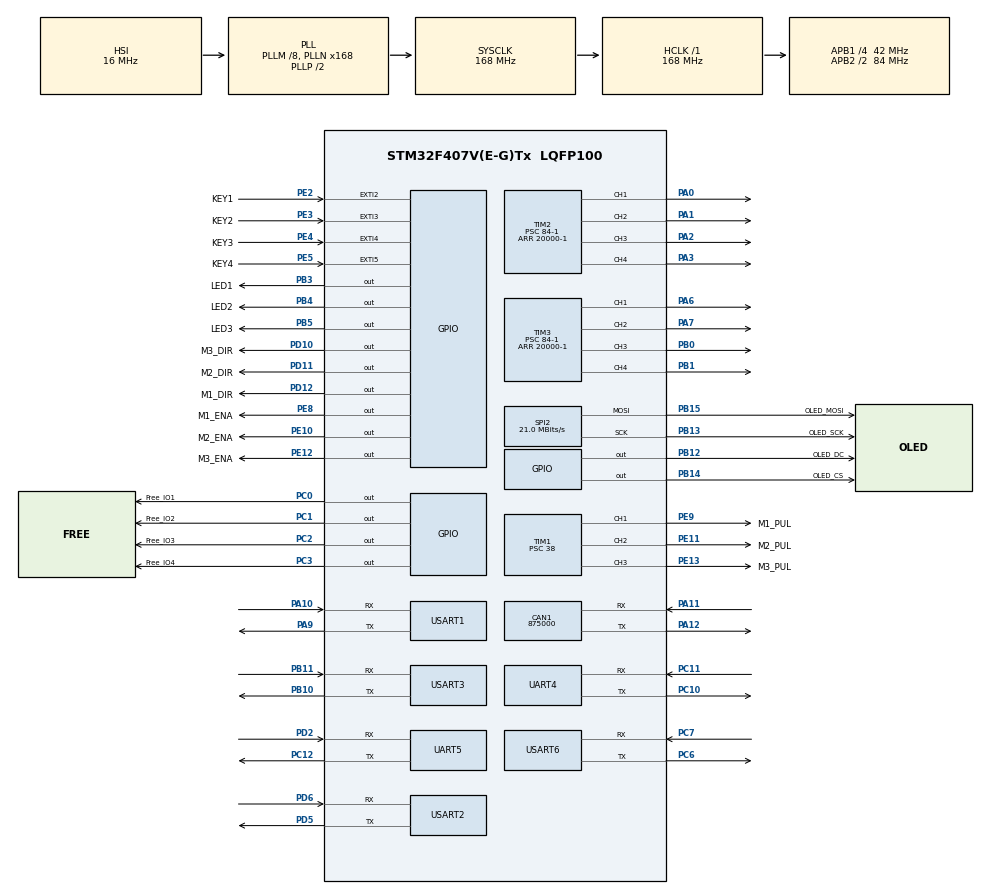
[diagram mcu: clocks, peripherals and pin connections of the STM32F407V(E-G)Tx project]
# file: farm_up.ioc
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CAN1.CalculateBaudRate=875000
CAN1.CalculateTimeBit=1142
CAN1.CalculateTimeQuantum=380.95238095238096
Dma.Request0=UART5_RX
Dma.Request1=UART5_TX
Dma.Request2=USART1_RX
Dma.Request3=USART1_TX
Dma.UART5_RX.0.Direction=DMA_PERIPH_TO_MEMORY
Dma.UART5_RX.0.FIFOMode=DMA_FIFOMODE_DISABLE
Dma.UART5_RX.0.Instance=DMA1_Stream0
Dma.UART5_RX.0.MemDataAlignment=DMA_MDATAALIGN_BYTE
Dma.UART5_RX.0.MemInc=DMA_MINC_ENABLE
Dma.UART5_RX.0.Mode=DMA_NORMAL
Dma.UART5_RX.0.PeriphDataAlignment=DMA_PDATAALIGN_BYTE
Dma.UART5_RX.0.PeriphInc=DMA_PINC_DISABLE
Dma.UART5_RX.0.Priority=DMA_PRIORITY_LOW
Dma.UART5_TX.1.Direction=DMA_MEMORY_TO_PERIPH
Dma.UART5_TX.1.FIFOMode=DMA_FIFOMODE_DISABLE
Dma.UART5_TX.1.Instance=DMA1_Stream7
Dma.UART5_TX.1.MemDataAlignment=DMA_MDATAALIGN_BYTE
Dma.UART5_TX.1.MemInc=DMA_MINC_ENABLE
Dma.UART5_TX.1.Mode=DMA_NORMAL
Dma.UART5_TX.1.PeriphDataAlignment=DMA_PDATAALIGN_BYTE
Dma.UART5_TX.1.PeriphInc=DMA_PINC_DISABLE
Dma.UART5_TX.1.Priority=DMA_PRIORITY_LOW
Dma.USART1_RX.2.Direction=DMA_PERIPH_TO_MEMORY
Dma.USART1_RX.2.FIFOMode=DMA_FIFOMODE_DISABLE
Dma.USART1_RX.2.Instance=DMA2_Stream2
Dma.USART1_RX.2.MemDataAlignment=DMA_MDATAALIGN_BYTE
Dma.USART1_RX.2.MemInc=DMA_MINC_ENABLE
Dma.USART1_RX.2.Mode=DMA_NORMAL
Dma.USART1_RX.2.PeriphDataAlignment=DMA_PDATAALIGN_BYTE
Dma.USART1_RX.2.PeriphInc=DMA_PINC_DISABLE
Dma.USART1_RX.2.Priority=DMA_PRIORITY_LOW
Dma.USART1_TX.3.Direction=DMA_MEMORY_TO_PERIPH
Dma.USART1_TX.3.FIFOMode=DMA_FIFOMODE_DISABLE
Dma.USART1_TX.3.Instance=DMA2_Stream7
Dma.USART1_TX.3.MemDataAlignment=DMA_MDATAALIGN_BYTE
Dma.USART1_TX.3.MemInc=DMA_MINC_ENABLE
Dma.USART1_TX.3.Mode=DMA_NORMAL
Dma.USART1_TX.3.PeriphDataAlignment=DMA_PDATAALIGN_BYTE
Dma.USART1_TX.3.PeriphInc=DMA_PINC_DISABLE
Dma.USART1_TX.3.Priority=DMA_PRIORITY_LOW
Mcu.Family=STM32F4
Mcu.Name=STM32F407V(E-G)Tx
Mcu.Package=LQFP100
NVIC.DMA1_Stream0_IRQn=true\:0\:0\:false\:false\:true\:false\:true\:true
NVIC.DMA1_Stream7_IRQn=true\:0\:0\:false\:false\:true\:false\:true\:true
NVIC.DMA2_Stream2_IRQn=true\:0\:0\:false\:false\:true\:false\:true\:true
NVIC.DMA2_Stream7_IRQn=true\:0\:0\:false\:false\:true\:false\:true\:true
NVIC.EXTI2_IRQn=true\:0\:0\:false\:false\:true\:true\:true\:true
NVIC.EXTI3_IRQn=true\:0\:0\:false\:false\:true\:true\:true\:true
NVIC.EXTI4_IRQn=true\:0\:0\:false\:false\:true\:true\:true\:true
NVIC.EXTI9_5_IRQn=true\:0\:0\:false\:false\:true\:true\:true\:true
NVIC.PriorityGroup=NVIC_PRIORITYGROUP_4
NVIC.TIM1_CC_IRQn=true\:3\:0\:true\:false\:true\:true\:true\:true
NVIC.UART5_IRQn=true\:0\:0\:false\:false\:true\:true\:true\:true
NVIC.USART1_IRQn=true\:0\:0\:false\:false\:true\:true\:true\:true
PA0-WKUP.Signal=S_TIM2_CH1_ETR
PA1.Signal=S_TIM2_CH2
PA10.Mode=Asynchronous
PA10.Signal=USART1_RX
PA11.Mode=CAN_Activate
PA11.Signal=CAN1_RX
PA12.Mode=CAN_Activate
PA12.Signal=CAN1_TX
PA13.Mode=Serial_Wire
PA13.Signal=SYS_JTMS-SWDIO
PA14.Mode=Serial_Wire
PA14.Signal=SYS_JTCK-SWCLK
PA2.Signal=S_TIM2_CH3
PA3.Signal=S_TIM2_CH4
PA6.Signal=S_TIM3_CH1
PA7.Signal=S_TIM3_CH2
PA9.Mode=Asynchronous
PA9.Signal=USART1_TX
PB0.Signal=S_TIM3_CH3
PB1.Signal=S_TIM3_CH4
PB10.Mode=Asynchronous
PB10.Signal=USART3_TX
PB11.Mode=Asynchronous
PB11.Signal=USART3_RX
PB12.GPIO_Label=OLED_DC
PB12.Signal=GPIO_Output
PB13.GPIO_Label=OLED_SCK
PB13.Mode=TX_Only_Simplex_Unidirect_Master
PB13.Signal=SPI2_SCK
PB14.GPIO_Label=OLED_CS
PB14.Signal=GPIO_Output
PB15.GPIO_Label=OLED_MOSI
PB15.Mode=TX_Only_Simplex_Unidirect_Master
PB15.Signal=SPI2_MOSI
PB3.GPIO_Label=LED1
PB3.Signal=GPIO_Output
PB4.GPIO_Label=LED2
PB4.Signal=GPIO_Output
PB5.GPIO_Label=LED3
PB5.Signal=GPIO_Output
PC0.GPIO_Label=Free_IO1
PC0.Signal=GPIO_Output
PC1.GPIO_Label=Free_IO2
PC1.Signal=GPIO_Output
PC10.Mode=Asynchronous
PC10.Signal=UART4_TX
PC11.Mode=Asynchronous
PC11.Signal=UART4_RX
PC12.Mode=Asynchronous
PC12.Signal=UART5_TX
PC2.GPIO_Label=Free_IO3
PC2.Signal=GPIO_Output
PC3.GPIO_Label=Free_IO4
PC3.Signal=GPIO_Output
PC6.Mode=Asynchronous
PC6.Signal=USART6_TX
PC7.Mode=Asynchronous
PC7.Signal=USART6_RX
PD10.GPIO_Label=M3_DIR
PD10.GPIO_PuPd=GPIO_PULLUP
PD10.Signal=GPIO_Output
PD11.GPIO_Label=M2_DIR
PD11.GPIO_PuPd=GPIO_PULLUP
PD11.Signal=GPIO_Output
PD12.GPIO_Label=M1_DIR
PD12.GPIO_PuPd=GPIO_PULLUP
PD12.Signal=GPIO_Output
PD2.Mode=Asynchronous
PD2.Signal=UART5_RX
PD5.Mode=Asynchronous
PD5.Signal=USART2_TX
PD6.Mode=Asynchronous
PD6.Signal=USART2_RX
PE10.GPIO_Label=M2_ENA
PE10.Signal=GPIO_Output
PE11.GPIO_Label=M2_PUL
PE11.GPIO_Speed=GPIO_SPEED_FREQ_HIGH
PE11.Signal=S_TIM1_CH2
PE12.GPIO_Label=M3_ENA
PE12.Signal=GPIO_Output
PE13.GPIO_Label=M3_PUL
PE13.GPIO_Speed=GPIO_SPEED_FREQ_HIGH
PE13.Signal=S_TIM1_CH3
PE2.GPIO_Label=KEY1
PE2.GPIO_PuPd=GPIO_PULLUP
PE2.Signal=GPXTI2
PE3.GPIO_Label=KEY2
PE3.GPIO_PuPd=GPIO_PULLUP
PE3.Signal=GPXTI3
PE4.GPIO_Label=KEY3
PE4.GPIO_PuPd=GPIO_PULLUP
PE4.Signal=GPXTI4
PE5.GPIO_Label=KEY4
PE5.GPIO_PuPd=GPIO_PULLUP
PE5.Signal=GPXTI5
PE8.GPIO_Label=M1_ENA
PE8.Signal=GPIO_Output
PE9.GPIO_Label=M1_PUL
PE9.GPIO_Speed=GPIO_SPEED_FREQ_HIGH
PE9.Signal=S_TIM1_CH1
PH0-OSC_IN.Mode=HSE-External-Oscillator
PH0-OSC_IN.Signal=RCC_OSC_IN
PH1-OSC_OUT.Mode=HSE-External-Oscillator
PH1-OSC_OUT.Signal=RCC_OSC_OUT
ProjectManager.HeapSize=0x200
ProjectManager.StackSize=0x400
ProjectManager.TargetToolchain=MDK-ARM V5
RCC.48MHZClocksFreq_Value=84000000
RCC.AHBFreq_Value=168000000
RCC.APB1CLKDivider=RCC_HCLK_DIV4
RCC.APB1Freq_Value=42000000
RCC.APB1TimFreq_Value=84000000
RCC.APB2CLKDivider=RCC_HCLK_DIV2
RCC.APB2Freq_Value=84000000
RCC.APB2TimFreq_Value=168000000
RCC.CortexFreq_Value=168000000
RCC.HCLKFreq_Value=168000000
RCC.HSE_VALUE=25000000
RCC.HSI_VALUE=16000000
RCC.LSE_VALUE=32768
RCC.PLLM=8
RCC.PLLN=168
RCC.SYSCLKFreq_VALUE=168000000
RCC.SYSCLKSource=RCC_SYSCLKSOURCE_PLLCLK
RCC.VCOOutputFreq_Value=336000000
SH.S_TIM1_CH1.0=TIM1_CH1,Output Compare1 CH1
SH.S_TIM1_CH2.0=TIM1_CH2,Output Compare2 CH2
SH.S_TIM1_CH3.0=TIM1_CH3,Output Compare3 CH3
SH.S_TIM2_CH1_ETR.0=TIM2_CH1,PWM Generation1 CH1
SH.S_TIM2_CH2.0=TIM2_CH2,PWM Generation2 CH2
SH.S_TIM2_CH3.0=TIM2_CH3,PWM Generation3 CH3
SH.S_TIM2_CH4.0=TIM2_CH4,PWM Generation4 CH4
SH.S_TIM3_CH1.0=TIM3_CH1,PWM Generation1 CH1
SH.S_TIM3_CH2.0=TIM3_CH2,PWM Generation2 CH2
SH.S_TIM3_CH3.0=TIM3_CH3,PWM Generation3 CH3
SH.S_TIM3_CH4.0=TIM3_CH4,PWM Generation4 CH4
SPI2.CalculateBaudRate=21.0 MBits/s
SPI2.Direction=SPI_DIRECTION_2LINES
SPI2.Mode=SPI_MODE_MASTER
SPI2.VirtualType=VM_MASTER
TIM1.Channel-Output\ Compare1\ CH1=TIM_CHANNEL_1
TIM1.Channel-Output\ Compare2\ CH2=TIM_CHANNEL_2
TIM1.Channel-Output\ Compare3\ CH3=TIM_CHANNEL_3
TIM1.OCMode_1=TIM_OCMODE_TOGGLE
TIM1.OCMode_2=TIM_OCMODE_TOGGLE
TIM1.OCMode_3=TIM_OCMODE_TOGGLE
TIM1.Prescaler=38
TIM1.Pulse-Output\ Compare1\ CH1=65535
TIM1.Pulse-Output\ Compare2\ CH2=65535
TIM1.Pulse-Output\ Compare3\ CH3=65535
TIM2.Channel-PWM\ Generation1\ CH1=TIM_CHANNEL_1
TIM2.Channel-PWM\ Generation2\ CH2=TIM_CHANNEL_2
TIM2.Channel-PWM\ Generation3\ CH3=TIM_CHANNEL_3
TIM2.Channel-PWM\ Generation4\ CH4=TIM_CHANNEL_4
TIM2.Period=20000-1
TIM2.Prescaler=84-1
TIM2.Pulse-PWM\ Generation1\ CH1=1500
TIM2.Pulse-PWM\ Generation2\ CH2=1500
TIM2.Pulse-PWM\ Generation3\ CH3=1500
TIM2.Pulse-PWM\ Generation4\ CH4=1500
TIM3.Channel-PWM\ Generation1\ CH1=TIM_CHANNEL_1
TIM3.Channel-PWM\ Generation2\ CH2=TIM_CHANNEL_2
TIM3.Channel-PWM\ Generation3\ CH3=TIM_CHANNEL_3
TIM3.Channel-PWM\ Generation4\ CH4=TIM_CHANNEL_4
TIM3.Period=20000-1
TIM3.Prescaler=84-1
TIM3.Pulse-PWM\ Generation1\ CH1=1500
TIM3.Pulse-PWM\ Generation2\ CH2=1500
TIM3.Pulse-PWM\ Generation3\ CH3=1500
TIM3.Pulse-PWM\ Generation4\ CH4=1500
UART4.VirtualMode=Asynchronous
UART5.VirtualMode=Asynchronous
USART1.VirtualMode=VM_ASYNC
USART2.VirtualMode=VM_ASYNC
USART3.VirtualMode=VM_ASYNC
USART6.VirtualMode=VM_ASYNC
VP_TIM1_VS_ClockSourceINT.Mode=Internal
VP_TIM2_VS_ClockSourceINT.Mode=Internal
VP_TIM3_VS_ClockSourceINT.Mode=Internal
board=custom

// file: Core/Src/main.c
/* USER CODE BEGIN Header */
/**
  ******************************************************************************
  * @file           : main.c
  * @brief          : Main program body
  ******************************************************************************
  * @attention
  *
  * Copyright (c) 2025 STMicroelectronics.
  * All rights reserved.
  *
  * This software is licensed under terms that can be found in the LICENSE file
  * in the root directory of this software component.
  * If no LICENSE file comes with this software, it is provided AS-IS.
  *
  ******************************************************************************
  */
/* USER CODE END Header */
#include "main.h"
#include "can.h"
#include "dma.h"
#include "spi.h"
#include "tim.h"
#include "usart.h"
#include "gpio.h"

/* USER CODE BEGIN Includes */
#include "STEPMOTOR.h"
#include "servo.h"
#include "oled.h"
#include "vofa.h"
#include "message_uart.h"
#include "qibeng.h"
#include "task.h"
/* USER CODE END Includes */

/* USER CODE BEGIN PTD */

gimbal_move_t gimbal;

uint16_t a;
//uint8_t message[1]={66};
/* USER CODE END PTD */

void SystemClock_Config(void);

int main(void)
{

  /* MCU Configuration--------------------------------------------------------*/

  /* Reset of all peripherals, Initializes the Flash interface and the Systick. */
  HAL_Init();

  /* Configure the system clock */
  SystemClock_Config();

  /* Initialize all configured peripherals */
  MX_GPIO_Init();
  MX_DMA_Init();
  MX_SPI2_Init();
  MX_UART4_Init();
  MX_UART5_Init();
  MX_USART1_UART_Init();
  MX_USART2_UART_Init();
  MX_USART3_UART_Init();
  MX_USART6_UART_Init();
  MX_CAN1_Init();
  MX_TIM1_Init();
  MX_TIM2_Init();
  MX_TIM3_Init();
  /* USER CODE BEGIN 2 */

	HAL_TIM_PWM_Start(&htim2, TIM_CHANNEL_1);
	HAL_TIM_PWM_Start(&htim2, TIM_CHANNEL_2);
	HAL_TIM_PWM_Start(&htim2, TIM_CHANNEL_3);
	HAL_TIM_PWM_Start(&htim2, TIM_CHANNEL_4);

//	HAL_TIM_PWM_Start(&htim3, TIM_CHANNEL_1);
	HAL_TIM_PWM_Start(&htim3, TIM_CHANNEL_2);
//	HAL_TIM_PWM_Start(&htim3, TIM_CHANNEL_3);
	HAL_TIM_PWM_Start(&htim3, TIM_CHANNEL_4);

  __HAL_UART_ENABLE_IT(&huart5, UART_IT_IDLE);
  HAL_UART_Receive_DMA(&huart5, gimbal.up_date_rx, sizeof(gimbal.up_date_rx));
//    Open_LED();
//	Open_qibeng();

  gimbal_init(&gimbal);
	gimbal.servo_360angle[0] = 180;

  /* USER CODE END 2 */

  /* Infinite loop */
  /* USER CODE BEGIN WHILE */
  while (1)
  {
	Set_360Angle(&gimbal);
//	  HAL_Delay(2000);
//	  Close_LED();
//	  Close_qibeng();

//	  Set_180Angle(&gimbal);
//	  Set_360Angle(&gimbal);
//	  HAL_Delay(20);
	  switch (gimbal.status)
	  {
		  case 0:
		  {
			  Key_Check(&gimbal);
			  break;
		  }
		  case 1:
		  {
			  Start_Bujin_Servo();
			  break;
		  }
	  }

    /* USER CODE END WHILE */

    /* USER CODE BEGIN 3 */

		//HAL_UART_Transmit(&huart5,6, strlen(6), 100);
		//HAL_UART_Transmit(&huart5, (uint8_t*)gimbal.up_date_tx, 2, 100);
  }
  /* USER CODE END 3 */
}

void SystemClock_Config(void)
{
  RCC_OscInitTypeDef RCC_OscInitStruct = {0};
  RCC_ClkInitTypeDef RCC_ClkInitStruct = {0};

  /** Configure the main internal regulator output voltage
  */
  __HAL_RCC_PWR_CLK_ENABLE();
  __HAL_PWR_VOLTAGESCALING_CONFIG(PWR_REGULATOR_VOLTAGE_SCALE1);

  /** Initializes the RCC Oscillators according to the specified parameters
  * in the RCC_OscInitTypeDef structure.
  */
  RCC_OscInitStruct.OscillatorType = RCC_OSCILLATORTYPE_HSI;
  RCC_OscInitStruct.HSIState = RCC_HSI_ON;
  RCC_OscInitStruct.HSICalibrationValue = RCC_HSICALIBRATION_DEFAULT;
  RCC_OscInitStruct.PLL.PLLState = RCC_PLL_ON;
  RCC_OscInitStruct.PLL.PLLSource = RCC_PLLSOURCE_HSI;
  RCC_OscInitStruct.PLL.PLLM = 8;
  RCC_OscInitStruct.PLL.PLLN = 168;
  RCC_OscInitStruct.PLL.PLLP = RCC_PLLP_DIV2;
  RCC_OscInitStruct.PLL.PLLQ = 4;
  if (HAL_RCC_OscConfig(&RCC_OscInitStruct) != HAL_OK)
  {
    Error_Handler();
  }

  /** Initializes the CPU, AHB and APB buses clocks
  */
  RCC_ClkInitStruct.ClockType = RCC_CLOCKTYPE_HCLK|RCC_CLOCKTYPE_SYSCLK
                              |RCC_CLOCKTYPE_PCLK1|RCC_CLOCKTYPE_PCLK2;
  RCC_ClkInitStruct.SYSCLKSource = RCC_SYSCLKSOURCE_PLLCLK;
  RCC_ClkInitStruct.AHBCLKDivider = RCC_SYSCLK_DIV1;
  RCC_ClkInitStruct.APB1CLKDivider = RCC_HCLK_DIV4;
  RCC_ClkInitStruct.APB2CLKDivider = RCC_HCLK_DIV2;

  if (HAL_RCC_ClockConfig(&RCC_ClkInitStruct, FLASH_LATENCY_5) != HAL_OK)
  {
    Error_Handler();
  }
}

/* USER CODE BEGIN 4 */
void HAL_GPIO_EXTI_Callback(uint16_t GPIO_Pin)
{
  switch (GPIO_Pin)
  {
  case KEY1_Pin:
		gimbal.key_value[0]=1;
//   STEPMOTOR_MOVE(800,400,5,5);//开始移动X轴
    break;
  case KEY2_Pin:
		gimbal.key_value[1]=1;
     CROSMOTOR_MOVE(1600,200,200,20);         //收回
    break;

  case KEY3_Pin:
		gimbal.key_value[2]=1;
  LIFTMOTOR_MOVE(3200*10,400,400,400);    //竖直上升

    break;
  case KEY4_Pin:
		gimbal.key_value[3]=1;
//  LIFTMOTOR_MOVE(-3200*10,400,400,400);
  LIFTMOTOR_MOVE(-3200*10,400,400,400);    //竖直下降

    break;
  }
}
/* USER CODE END 4 */

void Error_Handler(void)
{
  __disable_irq();
  while (1)
  {
  }
}
